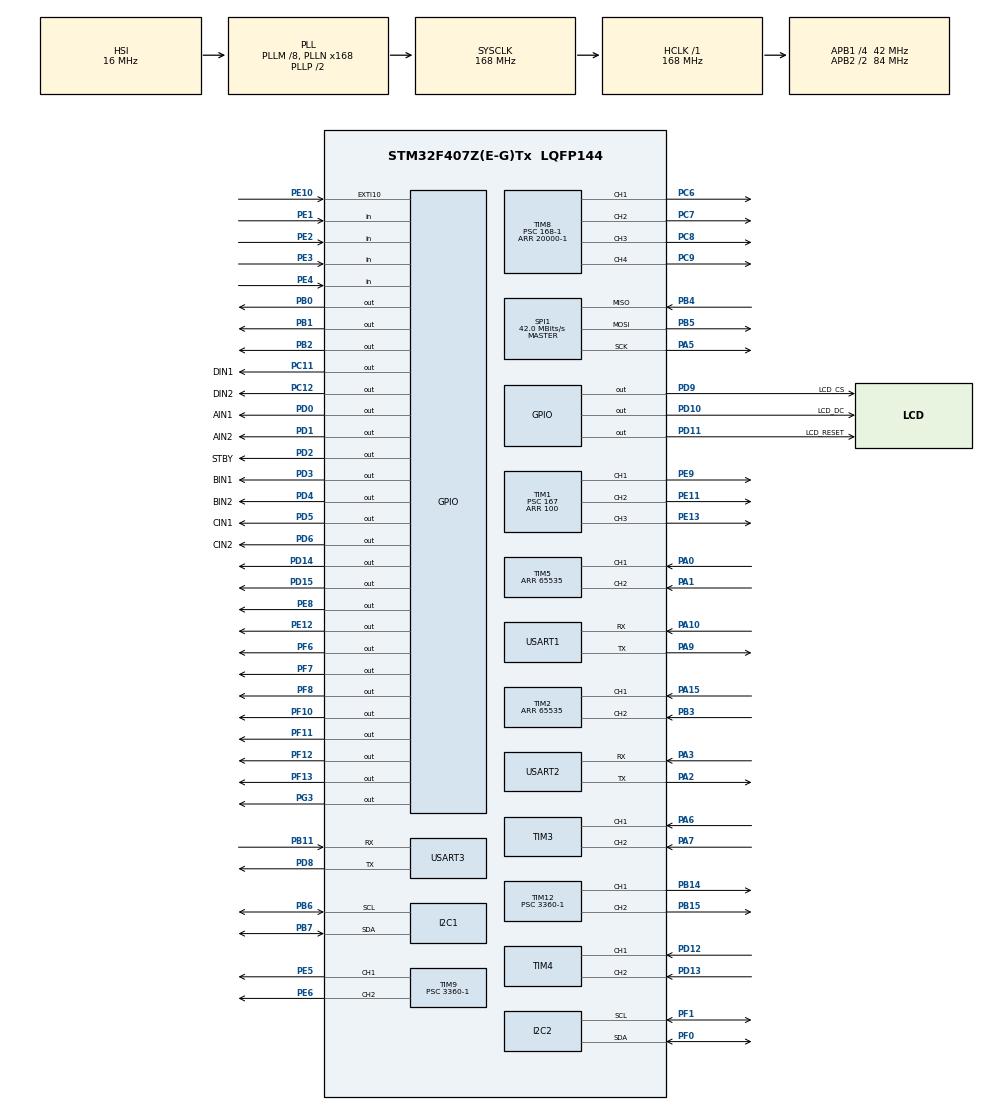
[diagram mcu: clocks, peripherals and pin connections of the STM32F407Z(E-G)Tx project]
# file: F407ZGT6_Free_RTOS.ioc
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Dma.I2C1_TX.0.Direction=DMA_MEMORY_TO_PERIPH
Dma.I2C1_TX.0.FIFOMode=DMA_FIFOMODE_DISABLE
Dma.I2C1_TX.0.Instance=DMA1_Stream7
Dma.I2C1_TX.0.MemDataAlignment=DMA_MDATAALIGN_BYTE
Dma.I2C1_TX.0.MemInc=DMA_MINC_ENABLE
Dma.I2C1_TX.0.Mode=DMA_NORMAL
Dma.I2C1_TX.0.PeriphDataAlignment=DMA_PDATAALIGN_BYTE
Dma.I2C1_TX.0.PeriphInc=DMA_PINC_DISABLE
Dma.I2C1_TX.0.Priority=DMA_PRIORITY_LOW
Dma.MEMTOMEM.3.Direction=DMA_MEMORY_TO_MEMORY
Dma.MEMTOMEM.3.FIFOMode=DMA_FIFOMODE_ENABLE
Dma.MEMTOMEM.3.FIFOThreshold=DMA_FIFO_THRESHOLD_FULL
Dma.MEMTOMEM.3.Instance=DMA2_Stream0
Dma.MEMTOMEM.3.MemBurst=DMA_MBURST_SINGLE
Dma.MEMTOMEM.3.MemDataAlignment=DMA_MDATAALIGN_BYTE
Dma.MEMTOMEM.3.MemInc=DMA_MINC_ENABLE
Dma.MEMTOMEM.3.Mode=DMA_NORMAL
Dma.MEMTOMEM.3.PeriphBurst=DMA_PBURST_SINGLE
Dma.MEMTOMEM.3.PeriphDataAlignment=DMA_PDATAALIGN_BYTE
Dma.MEMTOMEM.3.PeriphInc=DMA_PINC_ENABLE
Dma.MEMTOMEM.3.Priority=DMA_PRIORITY_LOW
Dma.Request0=I2C1_TX
Dma.Request1=USART2_RX
Dma.Request2=USART2_TX
Dma.Request3=MEMTOMEM
Dma.Request4=USART1_RX
Dma.Request5=USART1_TX
Dma.USART1_RX.4.Direction=DMA_PERIPH_TO_MEMORY
Dma.USART1_RX.4.FIFOMode=DMA_FIFOMODE_DISABLE
Dma.USART1_RX.4.Instance=DMA2_Stream2
Dma.USART1_RX.4.MemDataAlignment=DMA_MDATAALIGN_BYTE
Dma.USART1_RX.4.MemInc=DMA_MINC_ENABLE
Dma.USART1_RX.4.Mode=DMA_NORMAL
Dma.USART1_RX.4.PeriphDataAlignment=DMA_PDATAALIGN_BYTE
Dma.USART1_RX.4.PeriphInc=DMA_PINC_DISABLE
Dma.USART1_RX.4.Priority=DMA_PRIORITY_LOW
Dma.USART1_TX.5.Direction=DMA_MEMORY_TO_PERIPH
Dma.USART1_TX.5.FIFOMode=DMA_FIFOMODE_DISABLE
Dma.USART1_TX.5.Instance=DMA2_Stream7
Dma.USART1_TX.5.MemDataAlignment=DMA_MDATAALIGN_BYTE
Dma.USART1_TX.5.MemInc=DMA_MINC_ENABLE
Dma.USART1_TX.5.Mode=DMA_NORMAL
Dma.USART1_TX.5.PeriphDataAlignment=DMA_PDATAALIGN_BYTE
Dma.USART1_TX.5.PeriphInc=DMA_PINC_DISABLE
Dma.USART1_TX.5.Priority=DMA_PRIORITY_LOW
Dma.USART2_RX.1.Direction=DMA_PERIPH_TO_MEMORY
Dma.USART2_RX.1.FIFOMode=DMA_FIFOMODE_DISABLE
Dma.USART2_RX.1.Instance=DMA1_Stream5
Dma.USART2_RX.1.MemDataAlignment=DMA_MDATAALIGN_BYTE
Dma.USART2_RX.1.MemInc=DMA_MINC_ENABLE
Dma.USART2_RX.1.Mode=DMA_NORMAL
Dma.USART2_RX.1.PeriphDataAlignment=DMA_PDATAALIGN_BYTE
Dma.USART2_RX.1.PeriphInc=DMA_PINC_DISABLE
Dma.USART2_RX.1.Priority=DMA_PRIORITY_LOW
Dma.USART2_TX.2.Direction=DMA_MEMORY_TO_PERIPH
Dma.USART2_TX.2.FIFOMode=DMA_FIFOMODE_DISABLE
Dma.USART2_TX.2.Instance=DMA1_Stream6
Dma.USART2_TX.2.MemDataAlignment=DMA_MDATAALIGN_BYTE
Dma.USART2_TX.2.MemInc=DMA_MINC_ENABLE
Dma.USART2_TX.2.Mode=DMA_NORMAL
Dma.USART2_TX.2.PeriphDataAlignment=DMA_PDATAALIGN_BYTE
Dma.USART2_TX.2.PeriphInc=DMA_PINC_DISABLE
Dma.USART2_TX.2.Priority=DMA_PRIORITY_LOW
FREERTOS.Tasks01=defaultTask,24,128,StartDefaultTask,Default,NULL,Dynamic,NULL,NULL;myTask,8,512,StartTask,As weak,NULL,Dynamic,NULL,NULL
I2C1.I2C_Mode=I2C_Fast
I2C2.I2C_Mode=I2C_Fast
Mcu.Family=STM32F4
Mcu.Name=STM32F407Z(E-G)Tx
Mcu.Package=LQFP144
NVIC.DMA1_Stream5_IRQn=true\:5\:0\:false\:false\:true\:true\:false\:true\:true
NVIC.DMA1_Stream6_IRQn=true\:5\:0\:false\:false\:true\:true\:false\:true\:true
NVIC.DMA1_Stream7_IRQn=true\:5\:0\:false\:false\:true\:false\:false\:true\:true
NVIC.DMA2_Stream2_IRQn=true\:5\:0\:false\:false\:true\:true\:false\:true\:true
NVIC.DMA2_Stream7_IRQn=true\:5\:0\:false\:false\:true\:true\:false\:true\:true
NVIC.I2C1_EV_IRQn=true\:5\:0\:false\:false\:true\:true\:true\:true\:true
NVIC.PriorityGroup=NVIC_PRIORITYGROUP_4
NVIC.TIM1_BRK_TIM9_IRQn=true\:5\:0\:false\:false\:true\:true\:true\:true\:true
NVIC.TIM1_CC_IRQn=true\:5\:0\:false\:false\:true\:true\:true\:true\:true
NVIC.TIM2_IRQn=true\:5\:0\:false\:false\:true\:true\:true\:true\:true
NVIC.TIM3_IRQn=true\:5\:0\:false\:false\:true\:true\:true\:true\:true
NVIC.TIM4_IRQn=true\:5\:0\:false\:false\:true\:true\:true\:true\:true
NVIC.TIM5_IRQn=true\:5\:0\:false\:false\:true\:true\:true\:true\:true
NVIC.TIM6_DAC_IRQn=true\:15\:0\:false\:false\:true\:false\:false\:true\:true
NVIC.TIM7_IRQn=true\:5\:0\:false\:false\:true\:true\:true\:true\:true
NVIC.TIM8_TRG_COM_TIM14_IRQn=true\:5\:0\:false\:false\:true\:true\:true\:true\:true
NVIC.TimeBase=TIM6_DAC_IRQn
NVIC.TimeBaseIP=TIM6
NVIC.USART1_IRQn=true\:5\:0\:false\:false\:true\:true\:true\:true\:true
NVIC.USART2_IRQn=true\:5\:0\:false\:false\:true\:true\:true\:true\:true
NVIC.USART3_IRQn=true\:5\:0\:false\:false\:true\:true\:true\:true\:true
PA0-WKUP.Signal=S_TIM5_CH1
PA1.Signal=S_TIM5_CH2
PA10.Mode=Asynchronous
PA10.Signal=USART1_RX
PA13.Mode=Serial_Wire
PA13.Signal=SYS_JTMS-SWDIO
PA14.Mode=Serial_Wire
PA14.Signal=SYS_JTCK-SWCLK
PA15.Signal=S_TIM2_CH1_ETR
PA2.Mode=Asynchronous
PA2.Signal=USART2_TX
PA3.Mode=Asynchronous
PA3.Signal=USART2_RX
PA5.Mode=Full_Duplex_Master
PA5.Signal=SPI1_SCK
PA6.Signal=S_TIM3_CH1
PA7.Signal=S_TIM3_CH2
PA9.Mode=Asynchronous
PA9.Signal=USART1_TX
PB0.GPIO_Speed=GPIO_SPEED_FREQ_HIGH
PB0.Signal=GPIO_Output
PB1.GPIO_Speed=GPIO_SPEED_FREQ_HIGH
PB1.Signal=GPIO_Output
PB11.Mode=Asynchronous
PB11.Signal=USART3_RX
PB14.Signal=S_TIM12_CH1
PB15.Signal=S_TIM12_CH2
PB2.GPIO_Speed=GPIO_SPEED_FREQ_HIGH
PB2.Signal=GPIO_Output
PB3.Signal=S_TIM2_CH2
PB4.Mode=Full_Duplex_Master
PB4.Signal=SPI1_MISO
PB5.Mode=Full_Duplex_Master
PB5.Signal=SPI1_MOSI
PB6.Mode=I2C
PB6.Signal=I2C1_SCL
PB7.Mode=I2C
PB7.Signal=I2C1_SDA
PC11.GPIO_Label=DIN1
PC11.Signal=GPIO_Output
PC12.GPIO_Label=DIN2
PC12.Signal=GPIO_Output
PC14-OSC32_IN.Mode=LSE-External-Oscillator
PC14-OSC32_IN.Signal=RCC_OSC32_IN
PC15-OSC32_OUT.Mode=LSE-External-Oscillator
PC15-OSC32_OUT.Signal=RCC_OSC32_OUT
PC6.Signal=S_TIM8_CH1
PC7.Signal=S_TIM8_CH2
PC8.Signal=S_TIM8_CH3
PC9.Signal=S_TIM8_CH4
PD0.GPIO_Label=AIN1
PD0.Signal=GPIO_Output
PD1.GPIO_Label=AIN2
PD1.Signal=GPIO_Output
PD10.GPIO_Label=LCD_DC
PD10.GPIO_Speed=GPIO_SPEED_FREQ_HIGH
PD10.Signal=GPIO_Output
PD11.GPIO_Label=LCD_RESET
PD11.GPIO_Speed=GPIO_SPEED_FREQ_HIGH
PD11.Signal=GPIO_Output
PD12.Signal=S_TIM4_CH1
PD13.Signal=S_TIM4_CH2
PD14.Signal=GPIO_Output
PD15.Signal=GPIO_Output
PD2.GPIO_Label=STBY
PD2.Signal=GPIO_Output
PD3.GPIO_Label=BIN1
PD3.Signal=GPIO_Output
PD4.GPIO_Label=BIN2
PD4.Signal=GPIO_Output
PD5.GPIO_Label=CIN1
PD5.Signal=GPIO_Output
PD6.GPIO_Label=CIN2
PD6.GPIO_Speed=GPIO_SPEED_FREQ_LOW
PD6.Signal=GPIO_Output
PD8.Mode=Asynchronous
PD8.Signal=USART3_TX
PD9.GPIO_Label=LCD_CS
PD9.GPIO_Speed=GPIO_SPEED_FREQ_HIGH
PD9.Signal=GPIO_Output
PE1.GPIO_PuPd=GPIO_PULLUP
PE1.Signal=GPIO_Input
PE10.Signal=GPXTI10
PE11.Signal=S_TIM1_CH2
PE12.Signal=GPIO_Output
PE13.Signal=S_TIM1_CH3
PE2.GPIO_PuPd=GPIO_PULLUP
PE2.Signal=GPIO_Input
PE3.GPIO_PuPd=GPIO_PULLUP
PE3.Signal=GPIO_Input
PE4.GPIO_PuPd=GPIO_PULLUP
PE4.Signal=GPIO_Input
PE5.Signal=S_TIM9_CH1
PE6.Signal=S_TIM9_CH2
PE8.Signal=GPIO_Output
PE9.Signal=S_TIM1_CH1
PF0.Mode=I2C
PF0.Signal=I2C2_SDA
PF1.Mode=I2C
PF1.Signal=I2C2_SCL
PF10.GPIO_Speed=GPIO_SPEED_FREQ_HIGH
PF10.Signal=GPIO_Output
PF11.Signal=GPIO_Output
PF12.GPIO_Speed=GPIO_SPEED_FREQ_HIGH
PF12.Signal=GPIO_Output
PF13.Signal=GPIO_Output
PF6.Signal=GPIO_Output
PF7.Signal=GPIO_Output
PF8.GPIO_Speed=GPIO_SPEED_FREQ_HIGH
PF8.Signal=GPIO_Output
PG3.Signal=GPIO_Output
PH0-OSC_IN.Mode=HSE-External-Oscillator
PH0-OSC_IN.Signal=RCC_OSC_IN
PH1-OSC_OUT.Mode=HSE-External-Oscillator
PH1-OSC_OUT.Signal=RCC_OSC_OUT
ProjectManager.HeapSize=0x200
ProjectManager.StackSize=0x400
ProjectManager.TargetToolchain=MDK-ARM V5.32
RCC.48MHZClocksFreq_Value=84000000
RCC.AHBFreq_Value=168000000
RCC.APB1CLKDivider=RCC_HCLK_DIV4
RCC.APB1Freq_Value=42000000
RCC.APB1TimFreq_Value=84000000
RCC.APB2CLKDivider=RCC_HCLK_DIV2
RCC.APB2Freq_Value=84000000
RCC.APB2TimFreq_Value=168000000
RCC.CortexFreq_Value=168000000
RCC.HCLKFreq_Value=168000000
RCC.HSE_VALUE=25000000
RCC.HSI_VALUE=16000000
RCC.PLLM=8
RCC.PLLN=168
RCC.SYSCLKFreq_VALUE=168000000
RCC.SYSCLKSource=RCC_SYSCLKSOURCE_PLLCLK
RCC.VCOOutputFreq_Value=336000000
SH.S_TIM12_CH1.0=TIM12_CH1,PWM Generation1 CH1
SH.S_TIM12_CH2.0=TIM12_CH2,PWM Generation2 CH2
SH.S_TIM1_CH1.0=TIM1_CH1,PWM Generation1 CH1
SH.S_TIM1_CH2.0=TIM1_CH2,PWM Generation2 CH2
SH.S_TIM1_CH3.0=TIM1_CH3,PWM Generation3 CH3
SH.S_TIM2_CH1_ETR.0=TIM2_CH1,Encoder_Interface
SH.S_TIM2_CH2.0=TIM2_CH2,Encoder_Interface
SH.S_TIM3_CH1.0=TIM3_CH1,Encoder_Interface
SH.S_TIM3_CH2.0=TIM3_CH2,Encoder_Interface
SH.S_TIM4_CH1.0=TIM4_CH1,Encoder_Interface
SH.S_TIM4_CH2.0=TIM4_CH2,Encoder_Interface
SH.S_TIM5_CH1.0=TIM5_CH1,Encoder_Interface
SH.S_TIM5_CH2.0=TIM5_CH2,Encoder_Interface
SH.S_TIM8_CH1.0=TIM8_CH1,PWM Generation1 CH1
SH.S_TIM8_CH2.0=TIM8_CH2,PWM Generation2 CH2
SH.S_TIM8_CH3.0=TIM8_CH3,PWM Generation3 CH3
SH.S_TIM8_CH4.0=TIM8_CH4,PWM Generation4 CH4
SH.S_TIM9_CH1.0=TIM9_CH1,PWM Generation1 CH1
SH.S_TIM9_CH2.0=TIM9_CH2,PWM Generation2 CH2
SPI1.CalculateBaudRate=42.0 MBits/s
SPI1.Direction=SPI_DIRECTION_2LINES
SPI1.Mode=SPI_MODE_MASTER
SPI1.VirtualType=VM_MASTER
TIM1.AutoReloadPreload=TIM_AUTORELOAD_PRELOAD_DISABLE
TIM1.Channel-PWM\ Generation1\ CH1=TIM_CHANNEL_1
TIM1.Channel-PWM\ Generation2\ CH2=TIM_CHANNEL_2
TIM1.Channel-PWM\ Generation3\ CH3=TIM_CHANNEL_3
TIM1.Period=100
TIM1.Prescaler=167
TIM1.Pulse-PWM\ Generation1\ CH1=50
TIM1.Pulse-PWM\ Generation2\ CH2=50
TIM1.Pulse-PWM\ Generation3\ CH3=50
TIM12.Channel-PWM\ Generation1\ CH1=TIM_CHANNEL_1
TIM12.Channel-PWM\ Generation2\ CH2=TIM_CHANNEL_2
TIM12.Period=100-1
TIM12.Prescaler=3360-1
TIM2.EncoderMode=TIM_ENCODERMODE_TI12
TIM2.IC1Filter=6
TIM2.IC2Filter=6
TIM2.Period=65535
TIM3.EncoderMode=TIM_ENCODERMODE_TI12
TIM3.IC1Filter=6
TIM3.IC2Filter=6
TIM4.EncoderMode=TIM_ENCODERMODE_TI12
TIM4.IC1Filter=6
TIM4.IC2Filter=6
TIM5.EncoderMode=TIM_ENCODERMODE_TI12
TIM5.IC1Filter=6
TIM5.IC2Filter=6
TIM5.Period=65535
TIM7.AutoReloadPreload=TIM_AUTORELOAD_PRELOAD_ENABLE
TIM7.Period=149
TIM7.Prescaler=1679
TIM8.Channel-PWM\ Generation1\ CH1=TIM_CHANNEL_1
TIM8.Channel-PWM\ Generation2\ CH2=TIM_CHANNEL_2
TIM8.Channel-PWM\ Generation3\ CH3=TIM_CHANNEL_3
TIM8.Channel-PWM\ Generation4\ CH4=TIM_CHANNEL_4
TIM8.Period=20000-1
TIM8.Prescaler=168-1
TIM9.AutoReloadPreload=TIM_AUTORELOAD_PRELOAD_ENABLE
TIM9.Channel-PWM\ Generation1\ CH1=TIM_CHANNEL_1
TIM9.Channel-PWM\ Generation2\ CH2=TIM_CHANNEL_2
TIM9.Period=100-1
TIM9.Prescaler=3360-1
USART1.VirtualMode=VM_ASYNC
USART2.VirtualMode=VM_ASYNC
USART3.VirtualMode=VM_ASYNC
VP_FREERTOS_VS_CMSIS_V2.Mode=CMSIS_V2
VP_SYS_VS_tim6.Mode=TIM6
VP_TIM1_VS_ClockSourceINT.Mode=Internal
VP_TIM7_VS_ClockSourceINT.Mode=Enable_Timer
VP_TIM8_VS_ClockSourceINT.Mode=Internal
VP_TIM9_VS_ClockSourceINT.Mode=Internal
board=custom

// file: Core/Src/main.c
/* USER CODE BEGIN Header */
/**
  ******************************************************************************
  * @file           : main.c
  * @brief          : Main program body
  ******************************************************************************
  * @attention
  *
  * Copyright (c) 2024 STMicroelectronics.
  * All rights reserved.
  *
  * This software is licensed under terms that can be found in the LICENSE file
  * in the root directory of this software component.
  * If no LICENSE file comes with this software, it is provided AS-IS.
  *
  ******************************************************************************
  */
/* USER CODE END Header */
#include "main.h"
#include "cmsis_os.h"
#include "dma.h"
#include "i2c.h"
#include "spi.h"
#include "tim.h"
#include "usart.h"
#include "gpio.h"

/* USER CODE BEGIN Includes */
#include "drv8825.h"
#include "stdbool.h"
#include "string.h"
#include "stdio.h"
#include "oled.h"
#include "sevor.h"
#include "pid.h"
#include "TB6612.h"
#include "lcd.h"
#include "mpu6050.h"
#include "imu.h"

/* USER CODE END Includes */

/* USER CODE BEGIN PV */

float Motor1Speed = 0.00;
float Motor2Speed = 0.00;
float Motor3Speed = 0.00;
float Motor4Speed = 0.00;

int Motor3Angle=0;
int Motor4Angle=0;

int AngleL=0;
int AngleR=0;

short Encode1Count = 0;//编码器计数器值
short Encode2Count = 0;
short Encode3Count = 0;//编码器计数器值
short Encode4Count = 0;

extern double  Encode4_stup;
extern double  Encode3_stup;
double Encode3Count_ALL = 0;//编码器计数器值
double Encode4Count_ALL = 0;

int flag=0;
int left=0,right=0;

extern int action;
extern int capture;
extern int mode;
extern bool motor_Angle;
extern int star;

extern tPid pid1_speed;
extern tPid pid2_speed;

extern APid pid3_Angle;//电机3的角度控制
extern APid pid4_Angle;//电机4的角度控制

extern float Motor1Speed;
extern float Motor2Speed;
extern tPid pid3_speed;
extern tPid pid4_speed;
extern float Motor3Speed;
extern float Motor4Speed;
uint16_t TimerCount=0;

uint8_t RxBuff2[10];
uint8_t RxByte1;//串口每接收一个数据，就存入RxByte中
uint8_t RxBuff1[9];
uint16_t Rx_Count1;

extern uint8_t RxByte3;//串口每接收一个数据，就存入RxByte中

bool motor_Angle=false;

int DIRX;
int DIRY;
int DIRZ;

int MotorX_PWM_num = 0;		// 电机1当前脉冲数
int MotorY_PWM_num = 0;		// 电机2当前脉冲数
int MotorZ_PWM_num = 0;		// 电机3当前脉冲数

int road_PWMX_num = 0;	// 步进电机目标脉冲数(一圈6400脉冲)
int road_PWMY_num = 0;	// 步进电机目标脉冲数(一圈6400脉冲)
int road_PWMZ_num = 0;	// 步进电机目标脉冲数(一圈6400脉冲)

int date;

//Y
 uint16_t OC_Channel2_Pulse=0;
 uint16_t OC_Channel2_Duty=50;
 //X
 uint16_t OC_Channel1_Pulse=0;
 uint16_t OC_Channel1_Duty=50;
 //Z
 uint16_t OC_Channel3_Pulse=0;
 uint16_t OC_Channel3_Duty=50;
/* USER CODE END PV */

void SystemClock_Config(void);
void MX_FREERTOS_Init(void);

int main(void)
{

  /* MCU Configuration--------------------------------------------------------*/

  /* Reset of all peripherals, Initializes the Flash interface and the Systick. */
  HAL_Init();

  /* Configure the system clock */
  SystemClock_Config();

  /* Initialize all configured peripherals */
  MX_GPIO_Init();
  MX_DMA_Init();
  MX_USART2_UART_Init();
  MX_I2C1_Init();
  MX_TIM1_Init();
  MX_TIM8_Init();
  MX_USART1_UART_Init();
  MX_TIM2_Init();
  MX_TIM3_Init();
  MX_TIM4_Init();
  MX_TIM5_Init();
  MX_TIM9_Init();
  MX_TIM12_Init();
  MX_SPI1_Init();
  MX_I2C2_Init();
  MX_TIM7_Init();
  MX_USART3_UART_Init();
  /* USER CODE BEGIN 2 */
	Subdivide_Init();
	PID_init();
	HAL_Delay(20);
	OLED_init();
	LCD_Init();

	MPU_Init();//陀螺仪

	X_STEPMOTOR_DIR_FORWARD();
	Y_STEPMOTOR_DIR_FORWARD();
	Z_STEPMOTOR_DIR_FORWARD();

  X_STEPMOTOR_OUTPUT_ENABLE();
  Y_STEPMOTOR_OUTPUT_ENABLE();
	Z_STEPMOTOR_OUTPUT_ENABLE();

	HAL_TIM_OC_Start_IT(&htim1,TIM_CHANNEL_1);
	HAL_TIM_OC_Start_IT(&htim1,TIM_CHANNEL_2);
	HAL_TIM_OC_Start_IT(&htim1,TIM_CHANNEL_3);

	HAL_TIM_PWM_Start(&htim8,TIM_CHANNEL_1);//开启定时器8 通道1 PWM输出
	HAL_TIM_PWM_Start(&htim8,TIM_CHANNEL_2);//开启定时器8 通道2 PWM输出
	HAL_TIM_PWM_Start(&htim8,TIM_CHANNEL_3);//开启定时器8 通道3 PWM输出
	HAL_TIM_PWM_Start(&htim8,TIM_CHANNEL_4);//开启定时器8 通道3 PWM输出

	HAL_TIM_PWM_Start(&htim9,TIM_CHANNEL_1);//开启定时器8 通道1 PWM输出
	HAL_TIM_PWM_Start(&htim9,TIM_CHANNEL_2);//开启定时器8 通道2 PWM输出
	HAL_TIM_PWM_Start(&htim12,TIM_CHANNEL_1);//开启定时器8 通道3 PWM输出
	HAL_TIM_PWM_Start(&htim12,TIM_CHANNEL_2);//开启定时器8 通道3 PWM输出

  HAL_TIM_Encoder_Start(&htim2,TIM_CHANNEL_ALL);//开启定时器2
	HAL_TIM_Encoder_Start(&htim3,TIM_CHANNEL_ALL);//开启定时器2
  HAL_TIM_Encoder_Start(&htim4,TIM_CHANNEL_ALL);//开启定时器4
	HAL_TIM_Encoder_Start(&htim5,TIM_CHANNEL_ALL);//开启定时器4

	HAL_TIM_Base_Start_IT(&htim2);				//开启定时器2 中断
  HAL_TIM_Base_Start_IT(&htim3);        //开启定时器4 中断
	HAL_TIM_Base_Start_IT(&htim4);				//开启定时器2 中断
  HAL_TIM_Base_Start_IT(&htim5);        //开启定时器4 中断
	HAL_TIM_Base_Start_IT(&htim9);				//开启定时器2 中断

	HAL_UART_Receive_DMA(&huart1,RxBuff1,8);//串口2每接收到一个数据存入RxByte中，并调用一次回调函数
	HAL_UART_Receive_DMA(&huart2,RxBuff2,1);//串口2每接收到一个数据存入RxByte中，并调用一次回调函数
	HAL_UART_Receive_IT(&huart3,&RxByte3,1);//串口2每接收到一个数据存入RxByte中，并调用一次回调函数

	MotorX_off();
	MotorY_off();
	MotorZ_off();
	Z_STEPMOTOR_OUTPUT_DISABLE();
//	motorPidSetSpeed(-1,-1,-1,-1);
  /* USER CODE END 2 */

  /* Init scheduler */
  osKernelInitialize();  /* Call init function for freertos objects (in freertos.c) */
  MX_FREERTOS_Init();

  /* Start scheduler */
  osKernelStart();

  /* We should never get here as control is now taken by the scheduler */
  /* Infinite loop */
  while (1)
  {

  }
}

void SystemClock_Config(void)
{
  RCC_OscInitTypeDef RCC_OscInitStruct = {0};
  RCC_ClkInitTypeDef RCC_ClkInitStruct = {0};

  /** Configure the main internal regulator output voltage
  */
  __HAL_RCC_PWR_CLK_ENABLE();
  __HAL_PWR_VOLTAGESCALING_CONFIG(PWR_REGULATOR_VOLTAGE_SCALE1);

  /** Initializes the RCC Oscillators according to the specified parameters
  * in the RCC_OscInitTypeDef structure.
  */
  RCC_OscInitStruct.OscillatorType = RCC_OSCILLATORTYPE_HSI;
  RCC_OscInitStruct.HSIState = RCC_HSI_ON;
  RCC_OscInitStruct.HSICalibrationValue = RCC_HSICALIBRATION_DEFAULT;
  RCC_OscInitStruct.PLL.PLLState = RCC_PLL_ON;
  RCC_OscInitStruct.PLL.PLLSource = RCC_PLLSOURCE_HSI;
  RCC_OscInitStruct.PLL.PLLM = 8;
  RCC_OscInitStruct.PLL.PLLN = 168;
  RCC_OscInitStruct.PLL.PLLP = RCC_PLLP_DIV2;
  RCC_OscInitStruct.PLL.PLLQ = 4;
  if (HAL_RCC_OscConfig(&RCC_OscInitStruct) != HAL_OK)
  {
    Error_Handler();
  }

  /** Initializes the CPU, AHB and APB buses clocks
  */
  RCC_ClkInitStruct.ClockType = RCC_CLOCKTYPE_HCLK|RCC_CLOCKTYPE_SYSCLK
                              |RCC_CLOCKTYPE_PCLK1|RCC_CLOCKTYPE_PCLK2;
  RCC_ClkInitStruct.SYSCLKSource = RCC_SYSCLKSOURCE_PLLCLK;
  RCC_ClkInitStruct.AHBCLKDivider = RCC_SYSCLK_DIV1;
  RCC_ClkInitStruct.APB1CLKDivider = RCC_HCLK_DIV4;
  RCC_ClkInitStruct.APB2CLKDivider = RCC_HCLK_DIV2;

  if (HAL_RCC_ClockConfig(&RCC_ClkInitStruct, FLASH_LATENCY_5) != HAL_OK)
  {
    Error_Handler();
  }
}

void HAL_TIM_PeriodElapsedCallback(TIM_HandleTypeDef *htim)
{
  if (htim->Instance == TIM6) {
    HAL_IncTick();
  }
  /* USER CODE BEGIN Callback 1 */
if(htim == &htim9)//htim1 500HZ  2ms 中断一次
	{
		TimerCount++;
		if(TimerCount %5 == 0)//每10ms执行一次
		{
//			if(pid1_speed.target_val>=0)
//			{
//				Encode1Count = (short)__HAL_TIM_GET_COUNTER(&htim2);
//				Motor1Speed = (float)Encode1Count*100/30/13/4;
//			}
//			else if(pid1_speed.target_val<0)
//			{
//				Encode1Count = -(short)__HAL_TIM_GET_COUNTER(&htim2);
//				Motor1Speed = -(float)Encode1Count*100/30/13/4;
//			}
//			if(pid2_speed.target_val>=0)
//			{
//				Encode2Count = -(short)__HAL_TIM_GET_COUNTER(&htim3);
//				Motor2Speed = (float)Encode4Count*100/30/13/4;
//			}
//			else if(pid2_speed.target_val<0)
//			{
//				Encode2Count = (short)__HAL_TIM_GET_COUNTER(&htim3);
//				Motor2Speed = -(float)Encode2Count*100/30/13/4;
//			}

				Encode3Count = (short)__HAL_TIM_GET_COUNTER(&htim4);
				Motor3Speed = (float)Encode3Count*100/30/13/4;
				Encode4Count = -(short)__HAL_TIM_GET_COUNTER(&htim5);
				Motor4Speed = (float)Encode4Count*100/30/13/4;

			if(motor_Angle==1)
			{
			Encode3Count_ALL=Encode3Count_ALL+Encode3Count;
			Encode4Count_ALL=Encode4Count_ALL+Encode4Count;
			Motor3Angle=Encode3Count_ALL*360/30/13/4;
			Motor4Angle=Encode4Count_ALL*360/30/13/4;
			}
//			__HAL_TIM_SET_COUNTER(&htim2,0);
//			__HAL_TIM_SET_COUNTER(&htim3,0);
			__HAL_TIM_SET_COUNTER(&htim4,0);
			__HAL_TIM_SET_COUNTER(&htim5,0);

		if(TimerCount %10 ==0)//每20ms一次
		{
			if(motor_Angle==0)
			{
			 Motor_Set2(PID_realize(&pid3_speed,Motor3Speed),PID_realize(&pid4_speed,Motor4Speed));
			}
			else if(motor_Angle==1)
			{
				motorPidSetStup_Speed2();
				if((Motor3Angle<=AngleR+5)&&(Motor3Angle>=AngleR-5)&&(Motor4Angle>=AngleL-5)&&(Motor4Angle<=AngleL+5))
				{
					Encode3Count_ALL=0;
					Encode4Count_ALL=0;
					pid3_speed.target_val=0;
					pid4_speed.target_val=0;
					motor_Angle=0;
				}

			}
			 TimerCount=0;
		}
		}
	}

	else if(htim->Instance == TIM1)	// 定时器2(步进电机1PWM)
	{
	if(date==1)
	{
			MotorX_PWM_num ++;
			if(MotorX_PWM_num >= road_PWMX_num)
			{
				MotorX_PWM_num = 0;
				HAL_TIM_Base_Stop_IT(&htim1);
				HAL_TIM_PWM_Stop(&htim1, TIM_CHANNEL_1);	// 停止输出PWM

			}
		}
		else if(date==2)
		{
			MotorY_PWM_num ++;
			if(MotorY_PWM_num >= road_PWMY_num)
			{
				MotorY_PWM_num = 0;
				HAL_TIM_Base_Stop_IT(&htim1);
				HAL_TIM_PWM_Stop(&htim1, TIM_CHANNEL_2);	// 停止输出PWM
			}
		}
		else if(date==3)
		{

			MotorZ_PWM_num ++;
			if(MotorZ_PWM_num >= road_PWMZ_num)
			{
				MotorZ_PWM_num = 0;
				HAL_TIM_Base_Stop_IT(&htim1);
				HAL_TIM_PWM_Stop(&htim1, TIM_CHANNEL_3);	// 停止输出PWM

			}
		}
		}

  /* USER CODE END Callback 1 */
}

void Error_Handler(void)
{
  __disable_irq();
  while (1)
  {
  }
}

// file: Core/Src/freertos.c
/* USER CODE BEGIN Header */
/**
  ******************************************************************************
  * File Name          : freertos.c
  * Description        : Code for freertos applications
  ******************************************************************************
  * @attention
  *
  * Copyright (c) 2024 STMicroelectronics.
  * All rights reserved.
  *
  * This software is licensed under terms that can be found in the LICENSE file
  * in the root directory of this software component.
  * If no LICENSE file comes with this software, it is provided AS-IS.
  *
  ******************************************************************************
  */
/* USER CODE END Header */

#include "FreeRTOS.h"
#include "task.h"
#include "main.h"
#include "cmsis_os.h"

/* USER CODE BEGIN Includes */
#include "rtos_main.h"
/* USER CODE END Includes */

/* Definitions for defaultTask */
osThreadId_t defaultTaskHandle;
const osThreadAttr_t defaultTask_attributes = {
  .name = "defaultTask",
  .stack_size = 128 * 4,
  .priority = (osPriority_t) osPriorityNormal,
};
/* Definitions for myTask */
osThreadId_t myTaskHandle;
const osThreadAttr_t myTask_attributes = {
  .name = "myTask",
  .stack_size = 512 * 4,
  .priority = (osPriority_t) osPriorityLow,
};

void StartDefaultTask(void *argument);
void StartTask(void *argument);

void MX_FREERTOS_Init(void); /* (MISRA C 2004 rule 8.1) */

void MX_FREERTOS_Init(void) {

  /* Create the thread(s) */
  /* creation of defaultTask */
  defaultTaskHandle = osThreadNew(StartDefaultTask, NULL, &defaultTask_attributes);

  /* creation of myTask */
  myTaskHandle = osThreadNew(StartTask, NULL, &myTask_attributes);

}

void StartDefaultTask(void *argument)
{
  /* USER CODE BEGIN StartDefaultTask */
	start_init();
  /* Infinite loop */
  while(1)
  {
    osDelay(1);
  }
  /* USER CODE END StartDefaultTask */
}

__weak void StartTask(void *argument)
{
  while(1)
  {
    osDelay(1);
  }
}
